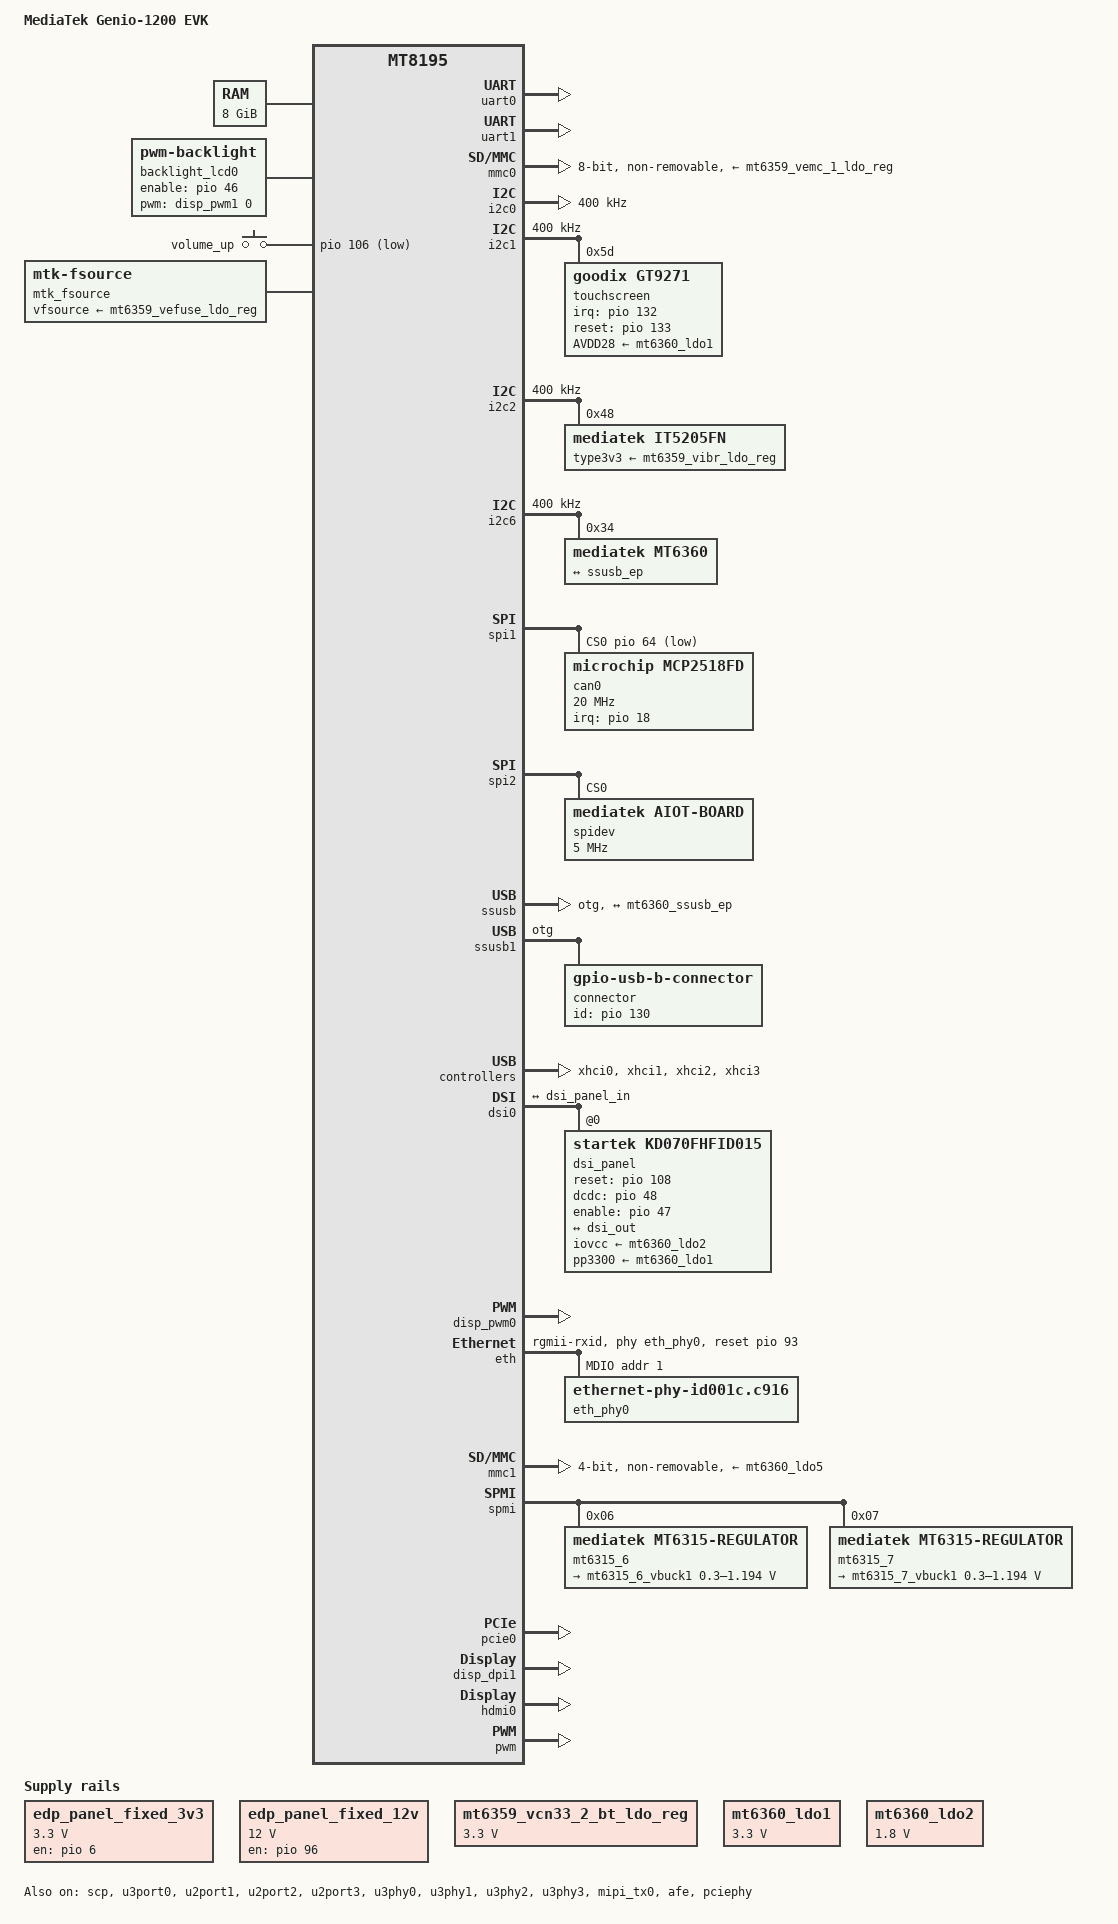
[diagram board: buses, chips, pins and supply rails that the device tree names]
// SPDX-License-Identifier: (GPL-2.0 OR MIT)
/*
 * Copyright (C) 2023 MediaTek Inc.
 * Author: Ben Lok <ben.lok@mediatek.com>
 */
/dts-v1/;
#include "mt8195-iot-usb.dtsi"
#include "mt6359.dtsi"
#include <dt-bindings/gpio/gpio.h>
#include <dt-bindings/input/input.h>
#include <dt-bindings/interrupt-controller/irq.h>
#include <dt-bindings/pinctrl/mt8195-pinfunc.h>
#include <dt-bindings/usb/pd.h>

/ {
	model = "MediaTek Genio-1200 EVK";
	compatible = "mediatek,mt8395-evk", "mediatek,mt8195";

	aliases {
		serial0 = &uart0;
	};

	chosen {
		stdout-path = "serial0:921600n8";
	};

	memory@40000000 {
		device_type = "memory";
		reg = <0 0x40000000 0x2 0x00000000>;
	};

	reserved-memory {
		#address-cells = <2>;
		#size-cells = <2>;
		ranges;

		/* 12 MiB reserved for OP-TEE (BL32)
		 * +-----------------------+ 0x43e0_0000
		 * |      SHMEM 2MiB       |
		 * +-----------------------+ 0x43c0_0000
		 * |        | TA_RAM  8MiB |
		 * + TZDRAM +--------------+ 0x4340_0000
		 * |        | TEE_RAM 2MiB |
		 * +-----------------------+ 0x4320_0000
		 */
		optee_reserved: optee@43200000 {
			no-map;
			reg = <0 0x43200000 0 0x00c00000>;
		};

		scp_mem_reserved: scp_mem_region {
			compatible = "shared-dma-pool";
			reg = <0 0x50000000 0 0x2900000>;
			no-map;
		};

		/* 2 MiB reserved for ARM Trusted Firmware (BL31) */
		bl31_secmon_reserved: secmon@54600000 {
			no-map;
			reg = <0 0x54600000 0x0 0x200000>;
		};

		snd_dma_mem_reserved: snd_dma_mem_region {
			compatible = "shared-dma-pool";
			reg = <0 0x60000000 0 0x1100000>;
			no-map;
		};

		apu_reserve_memory: apu-reserve-memory{
			compatible = "shared-dma-pool";
			size = <0 0x1400000>; //20 MB
			alignment = <0 0x10000>;
			reg = <0 0x62000000 0 0x1400000>;

		};

		vpu_reserve_memory: vpu-reserve-memory {
			compatible = "shared-dma-pool";
			size = <0 0x1400000>; //20 MB
			alignment = <0 0x10000>;
			reg = <0 0x53000000 0 0x1400000>;
		};

		/* global autoconfigured region for contiguous allocations */
		linux,cma {
			compatible = "shared-dma-pool";
			reusable;
			size = <0x00000000 0x0c000000>;
			linux,cma-default;
		};
	};

	firmware {
		optee {
			compatible = "linaro,optee-tz";
			method = "smc";
		};
	};

	edp_panel_fixed_3v3: regulator@0 {
		compatible = "regulator-fixed";
		regulator-name = "edp_panel_3v3";
		regulator-min-microvolt = <3300000>;
		regulator-max-microvolt = <3300000>;
		enable-active-high;
		gpio = <&pio 6 GPIO_ACTIVE_HIGH>;
		pinctrl-names = "default";
		pinctrl-0 = <&edp_panel_3v3_en_pins>;
	};

	edp_panel_fixed_12v: regulator@1 {
		compatible = "regulator-fixed";
		regulator-name = "edp_backlight_12v";
		regulator-min-microvolt = <12000000>;
		regulator-max-microvolt = <12000000>;
		enable-active-high;
		gpio = <&pio 96 GPIO_ACTIVE_HIGH>;
		pinctrl-names = "default";
		pinctrl-0 = <&edp_panel_12v_en_pins>;
	};

	backlight_lcd0: backlight_lcd0 {
		compatible = "pwm-backlight";
		pwms = <&disp_pwm1 0 500000>;
		enable-gpios = <&pio 46 GPIO_ACTIVE_HIGH>;
		brightness-levels = <0 1023>;
		num-interpolated-steps = <1023>;
		default-brightness-level = <576>;
	};

	gpio-keys {
		compatible = "gpio-keys";
		input-name = "gpio-keys";

		volume-up {
			wakeup-source;
			debounce-interval = <100>;
			gpios = <&pio 106 GPIO_ACTIVE_LOW>;
			label = "volume_up";
			linux,code = <KEY_VOLUMEUP>;
		};
	};

	mtk_fsource: fsource {
		compatible = "mtk-fsource";
		vfsource-supply = <&mt6359_vefuse_ldo_reg>;
	};

	can_clk: can-clk {
		compatible = "fixed-clock";
		#clock-cells = <0>;
		clock-frequency = <20000000>;
		clock-output-names = "can-clk";
	};
};

&uart0 {
	pinctrl-0 = <&uart0_pins>;
	pinctrl-names = "default";
	status = "okay";
};

&uart1 {
	pinctrl-0 = <&uart1_pins>;
	pinctrl-names = "default";
	status = "okay";
};

&scp {
	status = "okay";
};

&mmc0 {
	status = "okay";
	pinctrl-names = "default", "state_uhs";
	pinctrl-0 = <&mmc0_pins_default>;
	pinctrl-1 = <&mmc0_pins_uhs>;
	bus-width = <8>;
	max-frequency = <200000000>;
	cap-mmc-highspeed;
	mmc-hs200-1_8v;
	mmc-hs400-1_8v;
	cap-mmc-hw-reset;
	no-sdio;
	no-sd;
	hs400-ds-delay = <0x14c11>;
	vmmc-supply = <&mt6359_vemc_1_ldo_reg>;
	vqmmc-supply = <&mt6359_vufs_ldo_reg>;
	non-removable;
};

&pmic {
	interrupt-parent = <&pio>;
	interrupts = <222 IRQ_TYPE_LEVEL_HIGH>;
};

&scp {
	memory-region = <&scp_mem_reserved>;
	status = "okay";
};

&i2c0 {
	clock-frequency = <400000>;
	pinctrl-0 = <&i2c0_pins>;
	pinctrl-names = "default";
	status = "okay";
};

&i2c1 {
	clock-frequency = <400000>;
	pinctrl-0 = <&i2c1_pins>;
	pinctrl-names = "default";
	status = "okay";

	touchscreen@5d {
		compatible = "goodix,gt9271";
		reg = <0x5d>;
		interrupt-parent = <&pio>;
		interrupts = <132 IRQ_TYPE_EDGE_RISING>;
		irq-gpios = <&pio 132 GPIO_ACTIVE_HIGH>;
		reset-gpios = <&pio 133 GPIO_ACTIVE_HIGH>;
		AVDD28-supply = <&mt6360_ldo1>;
		pinctrl-names = "default";
		pinctrl-0 = <&touch_pins>;
	};
};

&i2c2 {
	clock-frequency = <400000>;
	pinctrl-0 = <&i2c2_pins>;
	pinctrl-names = "default";
	status = "okay";

	it5205fn: it5205fn@48 {
		compatible = "mediatek,it5205fn";
		reg = <0x48>;
		type3v3-supply = <&mt6359_vibr_ldo_reg>;
		svid = /bits/ 16 <0xff01>;
		status = "okay";
	};
};

&i2c6 {
	clock-frequency = <400000>;
	pinctrl-0 = <&i2c6_pins>;
	pinctrl-names = "default";
	#address-cells = <1>;
	#size-cells = <0>;
	status = "okay";

	mt6360: mt6360@34 {
		compatible = "mediatek,mt6360";
		reg = <0x34>;
		pinctrl-0 = <&mt6360_pins>;
		pinctrl-names = "default";

		tcpc {
			compatible = "mediatek,mt6360-tcpc";
			interrupts-extended = <&pio 100 IRQ_TYPE_LEVEL_LOW>;
			interrupt-names = "PD_IRQB";
			tcpc-vbus-supply = <&otg_vbus_regulator>;

			connector {
				compatible = "usb-c-connector";
				label = "USB-C";
				data-role = "dual";
				power-role = "dual";
				try-power-role = "sink";
				source-pdos = <PDO_FIXED(5000, 1000, PDO_FIXED_DUAL_ROLE | PDO_FIXED_DATA_SWAP)>;
				sink-pdos = <PDO_FIXED(5000, 2000, PDO_FIXED_DUAL_ROLE | PDO_FIXED_DATA_SWAP)>;
				op-sink-microwatt = <10000000>;
				orientation-switch = <&it5205fn>;
				mode-switch = <&it5205fn>;
				displayport = <&dp_intf1>;

				altmodes {
					dp {
						svid = <0xff01>;
						vdo = <0x1c1c47>;
					};
				};
			};

			ports {
				#address-cells = <1>;
				#size-cells = <0>;

				port@0 {
					reg = <0>;
					mt6360_ssusb_ep: endpoint {
						remote-endpoint = <&ssusb_ep>;
					};
				};
			};
		};
	};
};

&spi1 {
	pinctrl-0 = <&spi1_pins>;
	pinctrl-names = "default";
	mediatek,pad-select = <0>;
	#address-cells = <1>;
	#size-cells = <0>;
	status = "okay";
	cs-gpios = <&pio 64 GPIO_ACTIVE_LOW>;

	can0: can0@0 {
		compatible = "microchip,mcp2518fd";
		reg = <0>;
		clocks = <&can_clk>;
		spi-max-frequency = <20000000>;
		interrupts-extended = <&pio 18 IRQ_TYPE_LEVEL_LOW>;
	};
};

&spi2 {
	pinctrl-0 = <&spi2_pins>;
	pinctrl-names = "default";
	mediatek,pad-select = <0>;
	#address-cells = <1>;
	#size-cells = <0>;
	status = "okay";

	spidev@0 {
		compatible = "mediatek,aiot-board";
		spi-max-frequency = <5000000>;
		reg = <0>;
	};
};

&ssusb {
	pinctrl-names = "default";
	pinctrl-0 = <&u3_p0_vbus>;
	vusb33-supply = <&mt6359_vusb_ldo_reg>;
	dr_mode = "otg";
	mediatek,usb3-drd;
	usb-role-switch;
	status = "okay";

	port {
		ssusb_ep: endpoint {
			remote-endpoint = <&mt6360_ssusb_ep>;
		};
	};
};

&ssusb1 {
	pinctrl-names = "default";
	pinctrl-0 = <&u2_default>;
	maximum-speed = "high-speed";
	vusb33-supply = <&mt6359_vusb_ldo_reg>;
	mediatek,force-vbus;
	usb-role-switch;
	dr_mode = "otg"; /* host, peripheral, otg */
	status = "okay";

	connector {
		compatible = "gpio-usb-b-connector", "usb-b-connector";
		type = "micro";
		id-gpios = <&pio 130 GPIO_ACTIVE_HIGH>;
	};
};

&xhci0 {
	status = "okay";
};

&xhci1 {
	vusb33-supply = <&mt6359_vusb_ldo_reg>;
	status = "okay";
};

&xhci2 {
	vusb33-supply = <&mt6359_vusb_ldo_reg>;
	status = "okay";
};

&xhci3 {
	vusb33-supply = <&mt6359_vusb_ldo_reg>;
	status = "okay";
};

&u3port0 {
	status = "okay";
};

&u2port1 {
	status = "okay";
};

&u2port2 {
	status = "okay";
};

&u2port3 {
	status = "okay";
};

&u3phy0 {
	status = "okay";
};

&u3phy1 {
	status = "okay";
};

&u3phy2 {
	status = "okay";
};

&u3phy3 {
	status = "okay";
};

&mipi_tx0 {
	status = "okay";
};

&dsi0 {
	status = "okay";
	#address-cells = <1>;
	#size-cells = <0>;
	poweron-in-hs-mode = <0>;
	dsi_panel@0 {
		compatible = "startek,kd070fhfid015";
		status = "okay";
		reg = <0>;
		pinctrl-names = "default";
		pinctrl-0 = <&panel_pins_default>;
		reset-gpios = <&pio 108 GPIO_ACTIVE_HIGH>;
		dcdc-gpios = <&pio 48 GPIO_ACTIVE_HIGH>;
		enable-gpios = <&pio 47 GPIO_ACTIVE_HIGH>;
		iovcc-supply = <&mt6360_ldo2>;
		pp3300-supply = <&mt6360_ldo1>;
		port {
			dsi_panel_in: endpoint {
				remote-endpoint = <&dsi_out>;
			};
		};
	};
	ports {
		port {
			dsi_out: endpoint {
				remote-endpoint = <&dsi_panel_in>;
			};
		};
	};
};

&disp_pwm0 {
	pinctrl-names = "default";
	pinctrl-0 = <&pwm0_gpio_def_cfg>;
	status = "okay";
};

&eth {
	phy-mode ="rgmii-rxid";
	phy-handle = <&eth_phy0>;
	snps,reset-gpio = <&pio 93 GPIO_ACTIVE_HIGH>;
	snps,reset-delays-us = <0 10000 10000>;
	mediatek,tx-delay-ps = <2030>;
	pinctrl-names = "default", "sleep";
	pinctrl-0 = <&eth_default>;
	pinctrl-1 = <&eth_sleep>;
	status = "okay";

	mdio {
		compatible = "snps,dwmac-mdio";
		#address-cells = <1>;
		#size-cells = <0>;
		eth_phy0: eth_phy0@1 {
			compatible = "ethernet-phy-id001c.c916";
			reg = <0x1>;
		};
	};
};

&pio {
	u3_p0_vbus: u3_p0vbusdefault {
		pins_cmd_dat {
			pinmux = <PINMUX_GPIO63__FUNC_VBUSVALID>;
			input-enable;
		};
	};

	u2_default: u2default {
		pin-id {
			pinmux = <PINMUX_GPIO130__FUNC_IDDIG_1P>;
			input-enable;
			bias-pull-up;
		};

		pin-usb-vbus {
			pinmux = <PINMUX_GPIO131__FUNC_USB_DRVVBUS_1P>;
			output-low;
		};

	};

	mmc0_pins_default: mmc0default {
		pins_cmd_dat {
			pinmux = <PINMUX_GPIO126__FUNC_MSDC0_DAT0>,
				 <PINMUX_GPIO125__FUNC_MSDC0_DAT1>,
				 <PINMUX_GPIO124__FUNC_MSDC0_DAT2>,
				 <PINMUX_GPIO123__FUNC_MSDC0_DAT3>,
				 <PINMUX_GPIO119__FUNC_MSDC0_DAT4>,
				 <PINMUX_GPIO118__FUNC_MSDC0_DAT5>,
				 <PINMUX_GPIO117__FUNC_MSDC0_DAT6>,
				 <PINMUX_GPIO116__FUNC_MSDC0_DAT7>,
				 <PINMUX_GPIO121__FUNC_MSDC0_CMD>;
			input-enable;
			drive-strength = <MTK_DRIVE_6mA>;
			bias-pull-up = <MTK_PUPD_SET_R1R0_01>;
		};

		pins_clk {
			pinmux = <PINMUX_GPIO122__FUNC_MSDC0_CLK>;
			drive-strength = <MTK_DRIVE_6mA>;
			bias-pull-down = <MTK_PUPD_SET_R1R0_10>;
		};

		pins_rst {
			pinmux = <PINMUX_GPIO120__FUNC_MSDC0_RSTB>;
			drive-strength = <MTK_DRIVE_6mA>;
			bias-pull-up = <MTK_PUPD_SET_R1R0_01>;
		};
	};

	mmc0_pins_uhs: mmc0uhs{
		pins_cmd_dat {
			pinmux = <PINMUX_GPIO126__FUNC_MSDC0_DAT0>,
				 <PINMUX_GPIO125__FUNC_MSDC0_DAT1>,
				 <PINMUX_GPIO124__FUNC_MSDC0_DAT2>,
				 <PINMUX_GPIO123__FUNC_MSDC0_DAT3>,
				 <PINMUX_GPIO119__FUNC_MSDC0_DAT4>,
				 <PINMUX_GPIO118__FUNC_MSDC0_DAT5>,
				 <PINMUX_GPIO117__FUNC_MSDC0_DAT6>,
				 <PINMUX_GPIO116__FUNC_MSDC0_DAT7>,
				 <PINMUX_GPIO121__FUNC_MSDC0_CMD>;
			input-enable;
			drive-strength = <MTK_DRIVE_8mA>;
			bias-pull-up = <MTK_PUPD_SET_R1R0_01>;
		};

		pins_clk {
			pinmux = <PINMUX_GPIO122__FUNC_MSDC0_CLK>;
			drive-strength = <MTK_DRIVE_8mA>;
			bias-pull-down = <MTK_PUPD_SET_R1R0_10>;
		};

		pins_ds {
			pinmux = <PINMUX_GPIO127__FUNC_MSDC0_DSL>;
			drive-strength = <MTK_DRIVE_8mA>;
			bias-pull-down = <MTK_PUPD_SET_R1R0_10>;
		};

		pins_rst {
			pinmux = <PINMUX_GPIO120__FUNC_MSDC0_RSTB>;
			drive-strength = <MTK_DRIVE_8mA>;
			bias-pull-up = <MTK_PUPD_SET_R1R0_01>;
		};
	};

	mmc1_pins_default: mmc1-pins-default {
		pins_cmd_dat {
			pinmux = <PINMUX_GPIO110__FUNC_MSDC1_CMD>,
				 <PINMUX_GPIO112__FUNC_MSDC1_DAT0>,
				 <PINMUX_GPIO113__FUNC_MSDC1_DAT1>,
				 <PINMUX_GPIO114__FUNC_MSDC1_DAT2>,
				 <PINMUX_GPIO115__FUNC_MSDC1_DAT3>;
			input-enable;
			drive-strength = <MTK_DRIVE_8mA>;
			bias-pull-up = <MTK_PUPD_SET_R1R0_01>;
		};

		pins_clk {
			pinmux = <PINMUX_GPIO111__FUNC_MSDC1_CLK>;
			drive-strength = <MTK_DRIVE_8mA>;
			bias-pull-down = <MTK_PUPD_SET_R1R0_10>;
		};

		pins_insert {
			pinmux = <PINMUX_GPIO129__FUNC_GPIO129>;
			bias-pull-up;
		};
	};

	mmc1_pins_uhs: mmc1-pins-uhs {
		pins_cmd_dat {
			pinmux = <PINMUX_GPIO110__FUNC_MSDC1_CMD>,
				 <PINMUX_GPIO112__FUNC_MSDC1_DAT0>,
				 <PINMUX_GPIO113__FUNC_MSDC1_DAT1>,
				 <PINMUX_GPIO114__FUNC_MSDC1_DAT2>,
				 <PINMUX_GPIO115__FUNC_MSDC1_DAT3>;
			input-enable;
			drive-strength = <MTK_DRIVE_8mA>;
			bias-pull-up = <MTK_PUPD_SET_R1R0_01>;
		};

		pins_clk {
			pinmux = <PINMUX_GPIO111__FUNC_MSDC1_CLK>;
			drive-strength = <MTK_DRIVE_8mA>;
			bias-pull-down = <MTK_PUPD_SET_R1R0_10>;
		};
	};

	panel_pins_default: panel-pins-default {
		panel-dcdc {
			pinmux = <PINMUX_GPIO48__FUNC_GPIO48>;
			output-low;
		};

		panel-en {
			pinmux = <PINMUX_GPIO47__FUNC_GPIO47>;
			output-low;
		};

		panel-rst {
			pinmux = <PINMUX_GPIO108__FUNC_GPIO108>;
			output-high;
		};
	};

	pwm0_gpio_def_cfg: pwm0default {
		pins_cmd_dat {
			pinmux = <PINMUX_GPIO97__FUNC_DISP_PWM0>;
		};
	};

	aud_pins_default: audiodefault {
		pins_cmd_dat {
			pinmux = <PINMUX_GPIO69__FUNC_AUD_CLK_MOSI>,
				 <PINMUX_GPIO70__FUNC_AUD_SYNC_MOSI>,
				 <PINMUX_GPIO71__FUNC_AUD_DAT_MOSI0>,
				 <PINMUX_GPIO72__FUNC_AUD_DAT_MOSI1>,
				 <PINMUX_GPIO73__FUNC_AUD_DAT_MISO0>,
				 <PINMUX_GPIO74__FUNC_AUD_DAT_MISO1>,
				 <PINMUX_GPIO75__FUNC_AUD_DAT_MISO2>,
				 <PINMUX_GPIO61__FUNC_DMIC1_CLK>,
				 <PINMUX_GPIO62__FUNC_DMIC1_DAT>,
				 <PINMUX_GPIO17__FUNC_DMIC4_CLK>,
				 <PINMUX_GPIO16__FUNC_DMIC4_DAT>,
				 <PINMUX_GPIO65__FUNC_PCM_DO>,
				 <PINMUX_GPIO66__FUNC_PCM_CLK>,
				 <PINMUX_GPIO67__FUNC_PCM_DI>,
				 <PINMUX_GPIO68__FUNC_PCM_SYNC>;
		};
	};

	i2c0_pins: i2c0-pins {
		pins {
			pinmux = <PINMUX_GPIO8__FUNC_SDA0>,
				 <PINMUX_GPIO9__FUNC_SCL0>;
			bias-pull-up;
			mediatek,rsel = <MTK_PULL_SET_RSEL_111>;
			mediatek,drive-strength-adv = <7>;
		};
	};

	i2c1_pins: i2c1-pins {
		pins {
			pinmux = <PINMUX_GPIO10__FUNC_SDA1>,
				 <PINMUX_GPIO11__FUNC_SCL1>;
			bias-pull-up;
			mediatek,rsel = <MTK_PULL_SET_RSEL_111>;
			mediatek,drive-strength-adv = <7>;
		};
	};

	i2c2_pins: i2c2-pins {
		pins {
			pinmux = <PINMUX_GPIO12__FUNC_SDA2>,
				 <PINMUX_GPIO13__FUNC_SCL2>;
			bias-pull-up;
			mediatek,rsel = <MTK_PULL_SET_RSEL_111>;
			mediatek,drive-strength-adv = <7>;
			drive-strength = <MTK_DRIVE_6mA>;
		};
	};

	i2c6_pins: i2c6-pin {
		pins {
			pinmux = <PINMUX_GPIO25__FUNC_SDA6>,
				 <PINMUX_GPIO26__FUNC_SCL6>;
			bias-pull-up;
			mediatek,rsel = <MTK_PULL_SET_RSEL_111>;
		};
	};

	uart0_pins: uart0-pins {
		pins {
			pinmux = <PINMUX_GPIO98__FUNC_UTXD0>,
				 <PINMUX_GPIO99__FUNC_URXD0>;
		};
	};

	uart1_pins: uart1-pins {
		pins {
			pinmux = <PINMUX_GPIO102__FUNC_UTXD1>,
				 <PINMUX_GPIO103__FUNC_URXD1>;
		};
	};

	spi1_pins: spi1-pins {
		pins {
			pinmux = <PINMUX_GPIO136__FUNC_SPIM1_CSB>,
				 <PINMUX_GPIO137__FUNC_SPIM1_CLK>,
				 <PINMUX_GPIO138__FUNC_SPIM1_MO>,
				 <PINMUX_GPIO139__FUNC_SPIM1_MI>;
			bias-disable;
		};
	};

	spi2_pins: spi-pins {
		pins {
			pinmux = <PINMUX_GPIO140__FUNC_SPIM2_CSB>,
				 <PINMUX_GPIO141__FUNC_SPIM2_CLK>,
				 <PINMUX_GPIO142__FUNC_SPIM2_MO>,
				 <PINMUX_GPIO143__FUNC_SPIM2_MI>;
			bias-disable;
		};
	};

	eth_default: eth_default {
		txd_pins {
			pinmux = <PINMUX_GPIO77__FUNC_GBE_TXD3>,
				 <PINMUX_GPIO78__FUNC_GBE_TXD2>,
				 <PINMUX_GPIO79__FUNC_GBE_TXD1>,
				 <PINMUX_GPIO80__FUNC_GBE_TXD0>;
			drive-strength = <MTK_DRIVE_8mA>;
		};
		cc_pins {
			pinmux = <PINMUX_GPIO85__FUNC_GBE_TXC>,
				 <PINMUX_GPIO88__FUNC_GBE_TXEN>,
				 <PINMUX_GPIO87__FUNC_GBE_RXDV>,
				 <PINMUX_GPIO86__FUNC_GBE_RXC>;
			drive-strength = <MTK_DRIVE_8mA>;
		};
		rxd_pins {
			pinmux = <PINMUX_GPIO81__FUNC_GBE_RXD3>,
				 <PINMUX_GPIO82__FUNC_GBE_RXD2>,
				 <PINMUX_GPIO83__FUNC_GBE_RXD1>,
				 <PINMUX_GPIO84__FUNC_GBE_RXD0>;
		};
		mdio_pins {
			pinmux = <PINMUX_GPIO89__FUNC_GBE_MDC>,
				 <PINMUX_GPIO90__FUNC_GBE_MDIO>;
			input-enable;
		};
		power_pins {
			pinmux = <PINMUX_GPIO91__FUNC_GPIO91>,
				 <PINMUX_GPIO92__FUNC_GPIO92>;
			output-high;
		};
		phy_reset_pin {
			pinmux = <PINMUX_GPIO93__FUNC_GPIO93>;
		};
	};

	eth_sleep: eth_sleep {
		txd_pins {
			pinmux = <PINMUX_GPIO77__FUNC_GPIO77>,
				 <PINMUX_GPIO78__FUNC_GPIO78>,
				 <PINMUX_GPIO79__FUNC_GPIO79>,
				 <PINMUX_GPIO80__FUNC_GPIO80>;
		};
		cc_pins {
			pinmux = <PINMUX_GPIO85__FUNC_GPIO85>,
				 <PINMUX_GPIO88__FUNC_GPIO88>,
				 <PINMUX_GPIO87__FUNC_GPIO87>,
				 <PINMUX_GPIO86__FUNC_GPIO86>;
		};
		rxd_pins {
			pinmux = <PINMUX_GPIO81__FUNC_GPIO81>,
				 <PINMUX_GPIO82__FUNC_GPIO82>,
				 <PINMUX_GPIO83__FUNC_GPIO83>,
				 <PINMUX_GPIO84__FUNC_GPIO84>;
		};
		mdio_pins {
			pinmux = <PINMUX_GPIO89__FUNC_GPIO89>,
				 <PINMUX_GPIO90__FUNC_GPIO90>;
			input-disable;
			bias-disable;
		};
		power_pins {
			pinmux = <PINMUX_GPIO91__FUNC_GPIO91>,
				 <PINMUX_GPIO92__FUNC_GPIO92>;
			input-disable;
			bias-disable;
		};
		phy_reset_pin {
			pinmux = <PINMUX_GPIO93__FUNC_GPIO93>;
			input-disable;
			bias-disable;
		};
	};

	pcie0_pins_default: pcie0default {
		pins {
			pinmux = <PINMUX_GPIO19__FUNC_WAKEN>,
				 <PINMUX_GPIO20__FUNC_PERSTN>,
				 <PINMUX_GPIO21__FUNC_CLKREQN>;
			bias-pull-up;
		};
	};

	pcie1_pins_default: pcie1default {
		pins {
			pinmux = <PINMUX_GPIO22__FUNC_PERSTN_1>,
				 <PINMUX_GPIO23__FUNC_CLKREQN_1>,
				 <PINMUX_GPIO24__FUNC_WAKEN_1>;
			bias-pull-up;
		};

		mt7921 {
			pinmux = <PINMUX_GPIO65__FUNC_GPIO65>,
				 <PINMUX_GPIO67__FUNC_GPIO67>;
			output-high;
		};
	};

	edp_panel_12v_en_pins: edp_panel_12v_en_pins {
		pins1 {
			pinmux = <PINMUX_GPIO96__FUNC_GPIO96>;
			output-high;
		};
	};

	edp_panel_3v3_en_pins: edp_panel_3v3_en_pins {
		pins1 {
			pinmux = <PINMUX_GPIO6__FUNC_GPIO6>;
			output-high;
		};
	};

	disp_pwm1_pin_default: disp_pwm1_pin_default {
		pins1 {
			pinmux = <PINMUX_GPIO104__FUNC_DISP_PWM1>;
		};
	};

	gpio_keys: gpio-keys {
		pins {
			pinmux = <PINMUX_GPIO106__FUNC_GPIO106>;
			bias-pull-up;
			input-enable;
		};
	};

	mt6360_pins: mt6360-pins {
		pins {
			pinmux = <PINMUX_GPIO100__FUNC_GPIO100>,
				 <PINMUX_GPIO101__FUNC_GPIO101>;
			input-enable;
			bias-pull-up;
		};
	};

	dptx_pin: dptx_pin_default {
		pins_cmd_dat1 {
			pinmux = <PINMUX_GPIO18__FUNC_DP_TX_HPD>;
			bias-pull-up;
		};
	};

	pwm_pins: pwm-pins {
		pins {
			pinmux = <PINMUX_GPIO107__FUNC_PWM_3>;
		};
	};

	touch_pins: touchdefault {
		touch_pin_irq: pin-irq {
			pinmux = <PINMUX_GPIO132__FUNC_GPIO132>;
			input-enable;
			bias-disable;
		};

		touch_pin_reset: pin-reset {
			pinmux = <PINMUX_GPIO133__FUNC_GPIO133>;
			output-high;
		};
	};
};

&mt6359_vgpu11_buck_reg {
	regulator-always-on;
};

&mt6359_vpu_buck_reg {
	regulator-always-on;
};

&mt6359_vcore_buck_reg {
	regulator-always-on;
};

&mt6359_vproc1_buck_reg {
	regulator-always-on;
};

&mt6359_vproc2_buck_reg {
	regulator-always-on;
};

&mt6359_vsram_md_ldo_reg {
	regulator-always-on;
};

&mt6359_vbbck_ldo_reg {
	regulator-always-on;
};

&mt6359_vaud18_ldo_reg {
	regulator-always-on;
};

&mt6359_vrf12_ldo_reg {
	regulator-always-on;
};

&mt6359_vcn33_2_bt_ldo_reg {
	regulator-min-microvolt = <3300000>;
	regulator-max-microvolt = <3300000>;
	regulator-always-on;
};

/* DEBUG: to remove */
&mt6359_vibr_ldo_reg {
	regulator-always-on;
};

/* For USB Hub */
&mt6359_vcamio_ldo_reg {
	regulator-always-on;
};

#include "mt6360.dtsi"

/* For EMI_VDD2 */
&mt6360_buck1 {
	regulator-always-on;
};

/* For EMI_VDDQ */
&mt6360_buck2 {
	regulator-always-on;
};

&mt6360_ldo1 {
	regulator-min-microvolt = <3300000>;
	regulator-max-microvolt = <3300000>;
	regulator-always-on;
};

&mt6360_ldo2 {
	regulator-min-microvolt = <1800000>;
	regulator-max-microvolt = <1800000>;
};

/* For EMI_VMDDR_EN */
&mt6360_ldo7 {
	regulator-always-on;
};

&mmc1 {
	pinctrl-names = "default", "state_uhs";
	pinctrl-0 = <&mmc1_pins_default>;
	pinctrl-1 = <&mmc1_pins_uhs>;
	bus-width = <4>;
	max-frequency = <200000000>;
	cap-sd-highspeed;
	sd-uhs-sdr50;
	sd-uhs-sdr104;
	no-mmc;
	no-sdio;
	vmmc-supply = <&mt6360_ldo5>;
	vqmmc-supply = <&mt6360_ldo3>;
	status = "okay";
	non-removable;
};

&spmi {
	#address-cells = <2>;
	#size-cells = <2>;
	grpid = <11>;

	mt6315_6: mt6315@6 {
		compatible = "mediatek,mt6315-regulator";
		reg = <0x6 0 0xb 1>;

		regulators {
			mt6315_6_vbuck1: vbuck1 {
				regulator-compatible = "vbuck1";
				regulator-name = "Vbcpu";
				regulator-min-microvolt = <300000>;
				regulator-max-microvolt = <1193750>;
				regulator-enable-ramp-delay = <256>;
				regulator-allowed-modes = <0 1 2>;
				regulator-always-on;
			};
		};
	};

	mt6315_7: mt6315@7 {
		compatible = "mediatek,mt6315-regulator";
		reg = <0x7 0 0xb 1>;

		regulators {
			mt6315_7_vbuck1: vbuck1 {
				regulator-compatible = "vbuck1";
				regulator-name = "Vgpu";
				regulator-min-microvolt = <300000>;
				regulator-max-microvolt = <1193750>;
				regulator-enable-ramp-delay = <256>;
				regulator-allowed-modes = <0 1 2 4>;
			};
		};
	};
};

&afe {
	#sound-dai-cells = <0>;
	memory-region = <&snd_dma_mem_reserved>;
	mediatek,dmic-iir-on;
	mediatek,dmic-clk-mono;
	mediatek,dmic-clk-index = <0 3 2 1>;
	status = "okay";
};

&mt6359codec {
	mediatek,mic-type-0 = <1>; /* ACC */
	mediatek,mic-type-1 = <3>; /* DCC */
	mediatek,mic-type-2 = <1>; /* ACC */
};

&sound {
	compatible = "mediatek,mt8395-evk";
	model = "mt8395-evk";
	pinctrl-names = "default";
	pinctrl-0 = <&aud_pins_default>;
	status = "okay";

	dai-link-0 {
		sound-dai = <&afe>;
		dai-link-name = "DL_SRC_BE";

		codec-0 {
			sound-dai = <&pmic 0>;
		};
	};

	dai-link-1 {
		sound-dai = <&afe>;
		dai-link-name = "UL_SRC1_BE";

		codec-0 {
			sound-dai = <&pmic 0>;
		};

		codec-1 {
			sound-dai = <&dmic_codec>;
		};
	};

	dai-link-2 {
		sound-dai = <&afe>;
		dai-link-name = "UL_SRC2_BE";

		codec-0 {
			sound-dai = <&pmic 1>;
		};
	};

	dai-link-3 {
		sound-dai = <&afe>;
		dai-link-name = "ETDM3_OUT_BE";

		codec-0 {
			sound-dai = <&hdmi0>;
		};
	};
};

&mfg0 {
	domain-supply = <&mt6315_7_vbuck1>;
};

&pcie0 {
	pinctrl-names = "default";
	pinctrl-0 = <&pcie0_pins_default>;
	status = "okay";
};

&pcie1 {
	pinctrl-names = "default";
	pinctrl-0 = <&pcie1_pins_default>;
	status = "disabled";
};

&u3phy1 {
	status = "okay";
};

&pciephy {
	status = "okay";
};

&dp_intf1 {
	status = "disabled";
	mediatek,oob-hpd;
	ports {
		port {
			dp_intf1_out: endpoint {
				remote-endpoint = <&dptx_in>;
			};
		};
	};
};

&dp_tx {
	pinctrl-names = "default";
	pinctrl-0 = <&dptx_pin>;
	status = "disabled";

	ports {
		port {
			dptx_in: endpoint {
				remote-endpoint = <&dp_intf1_out>;
			};
		};
	};
};

&disp_dpi1 {
	status = "okay";
};

&hdmi0 {
	status = "okay";
};

&ovl1 {
	/* DSI0 does not support dualpipe output,
	 * so disable dualpipe by disabling ovl1 node
	 */
	status = "disabled";
};

&pwm {
	pinctrl-0 = <&pwm_pins>;
	pinctrl-names = "default";
	status = "okay";
};
